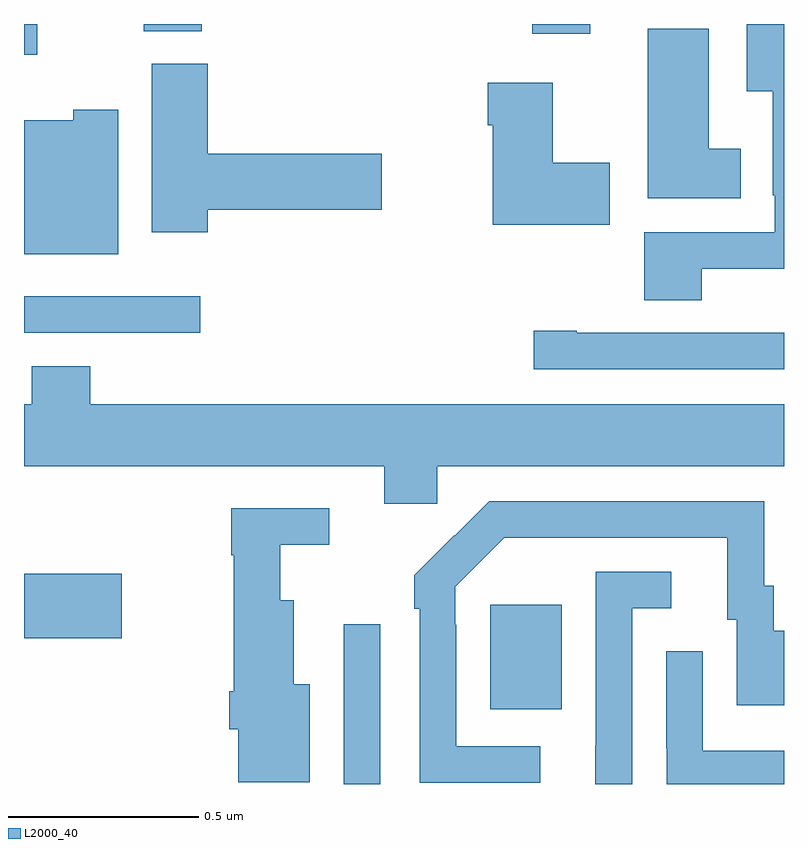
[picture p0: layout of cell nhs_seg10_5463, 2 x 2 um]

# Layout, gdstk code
import gdstk
lib = gdstk.Library(unit=1e-6, precision=1e-09)
def R(c, l, rs):  # rectangles x0, y0, x1, y1
    for r in rs: c.add(gdstk.rectangle(r[:2], r[2:], *l))
def P(c, l, *ps):  # polygons
    for p in ps: c.add(gdstk.Polygon(p, *l))
L2000_40 = (2000, 40)

nhs_seg10_5463 = lib.new_cell('nhs_seg10_5463')
R(nhs_seg10_5463, L2000_40, [(179.841,1279.5,179.937,1279.921), (180.227,1279.697,180.415,1279.972), (179,1279.883,179.257,1280.053), (179,1280.688,179.464,1280.784), (179,1281.419,179.035,1281.5), (180.338,1281.474,180.49,1281.5), (179.315,1281.481,179.468,1281.5)])
P(nhs_seg10_5463, L2000_40, [(180.784,1280.856),(181,1280.856),(181,1281.5),(180.902,1281.5),(180.902,1281.323),(180.971,1281.323),(180.971,1281.049),(180.975,1281.049),(180.975,1280.952),(180.632,1280.952),(180.632,1280.773),(180.784,1280.773)],
  [(180.886,1281.172),(180.802,1281.172),(180.802,1281.487),(180.641,1281.487),(180.641,1281.041),(180.886,1281.041)],
  [(179.483,1281.011),(179.941,1281.011),(179.941,1281.158),(179.483,1281.158),(179.483,1281.396),(179.336,1281.396),(179.336,1280.952),(179.483,1280.952)],
  [(180.541,1281.135),(180.391,1281.135),(180.391,1281.346),(180.221,1281.346),(180.221,1281.233),(180.233,1281.233),(180.233,1280.972),(180.541,1280.972)],
  [(179.248,1281.274),(179.13,1281.274),(179.13,1281.247),(179,1281.247),(179,1280.894),(179.248,1280.894)],
  [(181,1280.688),(180.454,1280.688),(180.454,1280.693),(180.342,1280.693),(180.342,1280.592),(181,1280.592)],
  [(179.174,1280.599),(179.021,1280.599),(179.021,1280.5),(179,1280.5),(179,1280.336),(179.948,1280.336),(179.948,1280.238),(180.087,1280.238),(180.087,1280.336),(181,1280.336),(181,1280.5),(179.174,1280.5)],
  [(180.358,1279.599),(180.138,1279.599),(180.138,1279.919),(180.135,1279.919),(180.135,1280.019),(180.264,1280.148),(180.851,1280.148),(180.851,1279.932),(180.875,1279.932),(180.875,1279.707),(181,1279.707),(181,1279.903),(180.973,1279.903),(180.973,1280.022),(180.948,1280.022),(180.948,1280.244),(180.224,1280.244),(180.133,1280.153),(180.132,1280.154),(180.027,1280.049),(180.027,1279.961),(180.042,1279.961),(180.042,1279.503),(180.358,1279.503)],
  [(179.752,1279.762),(179.71,1279.762),(179.71,1279.984),(179.674,1279.984),(179.674,1280.129),(179.803,1280.129),(179.803,1280.226),(179.545,1280.226),(179.545,1280.102),(179.552,1280.102),(179.552,1279.744),(179.54,1279.744),(179.54,1279.644),(179.564,1279.644),(179.564,1279.505),(179.752,1279.505)],
  [(180.6,1279.962),(180.703,1279.962),(180.703,1280.058),(180.504,1280.058),(180.504,1279.601),(180.503,1279.601),(180.503,1279.5),(180.6,1279.5)],
  [(181,1279.587),(180.786,1279.587),(180.786,1279.849),(180.69,1279.849),(180.69,1279.594),(180.691,1279.594),(180.691,1279.5),(181,1279.5)])

lib.write_gds('nhs_seg10_5463.gds')
